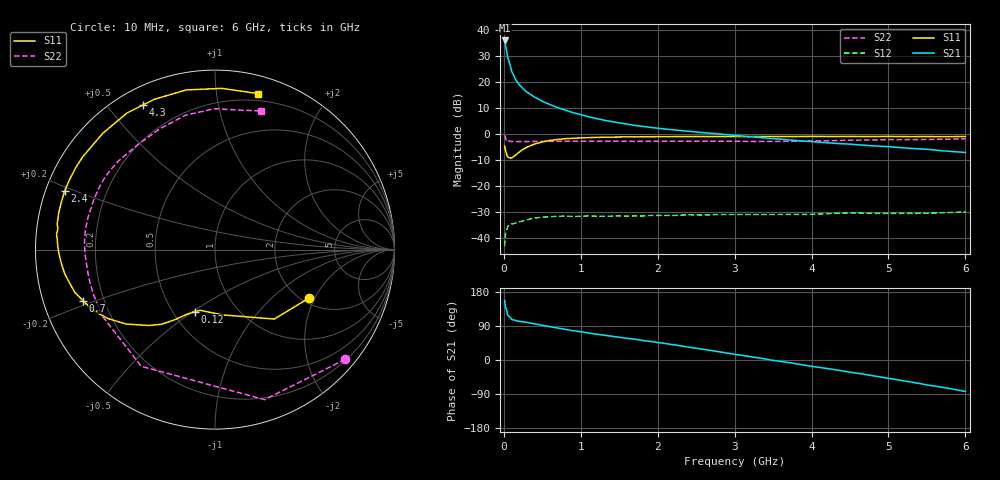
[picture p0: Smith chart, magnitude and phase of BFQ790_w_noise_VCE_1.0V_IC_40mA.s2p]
! Infineon Technologies  Discrete & RF Semiconductors
! BFQ790
! VCE =  1.0 V,  IC =  40 mA
! Common Emitter S-Parameters:  May 2015
# GHz  S  MA  R  50
!  f  S11  S21  S12  S22
! GHz  MAG  ANG  MAG  ANG  MAG  ANG  MAG  ANG
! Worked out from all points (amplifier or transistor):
!   77 points, 10 MHz to 6 GHz, reference 50 ohm
!   highest |S21| = 35.9 dB at 10 MHz (marker M1)
!   |S21| within 3 dB of that: start of sweep to 29.56 MHz
!   unconditionally stable (mu >= 1): 1.594 GHz to end of sweep
!   at 130 MHz: K = 0.70, MSG = 28.4 dB, |S12| = -34.3 dB
!   at 2.2 GHz: K = 1.14, MAG = 14.1 dB, |S12| = -31.2 dB
!   at 6 GHz: K = 1.85, MAG = 6.1 dB, |S12| = -29.8 dB
!   lowest NFmin = 2.18 dB at 900 MHz
!   S11 on the Smith chart (normalised r, x): 10 MHz: 2.16, -1.79; 120 MHz: 0.64, -0.51; 700 MHz: 0.12, -0.18; 2.4 GHz: 0.06, +0.19; 4.3 GHz: 0.07, +0.62; 6 GHz: 0.14, +1.30
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0.01  0.5877 -27.5  62.59 157.7  0.0071 65.9  0.9491 -40.1
0.02  0.5088 -49.5  52.23 140.4  0.0116 49.0  0.8804 -71.7
0.05  0.3664 -83.3  29.28 117.5  0.017 27.9  0.769 -122.3
0.1  0.3483 -104.0  16.15 107.3  0.0189 18.4  0.729 -149.6
0.12  0.3649 -108.1  14.22 106.3  0.0192 17.6  0.7231 -153.9
0.15  0.3928 -113.5  11.33 104.2  0.0196 16.4  0.7218 -160.3
0.2  0.4522 -120.0  8.885 102.2  0.0208 16.0  0.7202 -166.1
0.25  0.5106 -125.5  7.414 100.8  0.0217 13.5  0.7196 -169.8
0.3  0.5602 -131.0  6.392 99.1  0.0228 12.3  0.7199 -172.6
0.4  0.6471 -140.2  5.121 95.3  0.0246 10.8  0.7231 -176.7
0.5  0.7102 -147.3  4.277 91.6  0.0255 7.1  0.7254 -179.8
0.7  0.7894 -158.9  3.221 84.2  0.0266 4.2  0.7287 175.6
0.9  0.8328 -167.5  2.584 77.3  0.0264 -2.4  0.7297 172.2
1.1  0.8579 -174.3  2.16 71.3  0.027 -4.1  0.7298 169.1
1.5  0.8809 176.2  1.64 60.0  0.0271 -9.3  0.7278 163.9
2.1  0.8947 164.9  1.252 43.4  0.0276 -15.1  0.7301 155.6
2.4  0.899 158.7  1.135 34.1  0.0284 -19.5  0.7329 150.3
3.1  0.8978 142.9  0.918 12.2  0.0287 -29.0  0.7272 135.2
4.1  0.9024 120.6  0.701 -19.5  0.0294 -40.3  0.743 111.9
4.3  0.9002 116.3  0.667 -25.5  0.0301 -42.7  0.7522 107.1
5.1  0.8995 97.8  0.559 -51.6  0.0301 -55.0  0.7841 88.0
6  0.9015 74.7  0.446 -83.1  0.0322 -69.8  0.8135 71.7
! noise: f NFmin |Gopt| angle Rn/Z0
0.45  2.74  0.31  109  0.35
0.9  2.18  0.46  155  0.14
1.5  2.29  0.62  -180  0.07
1.8  2.51  0.66  -173  0.07
2.6  3.27  0.73  -155  0.19
3.5  4.02  0.86  -137  0.55
